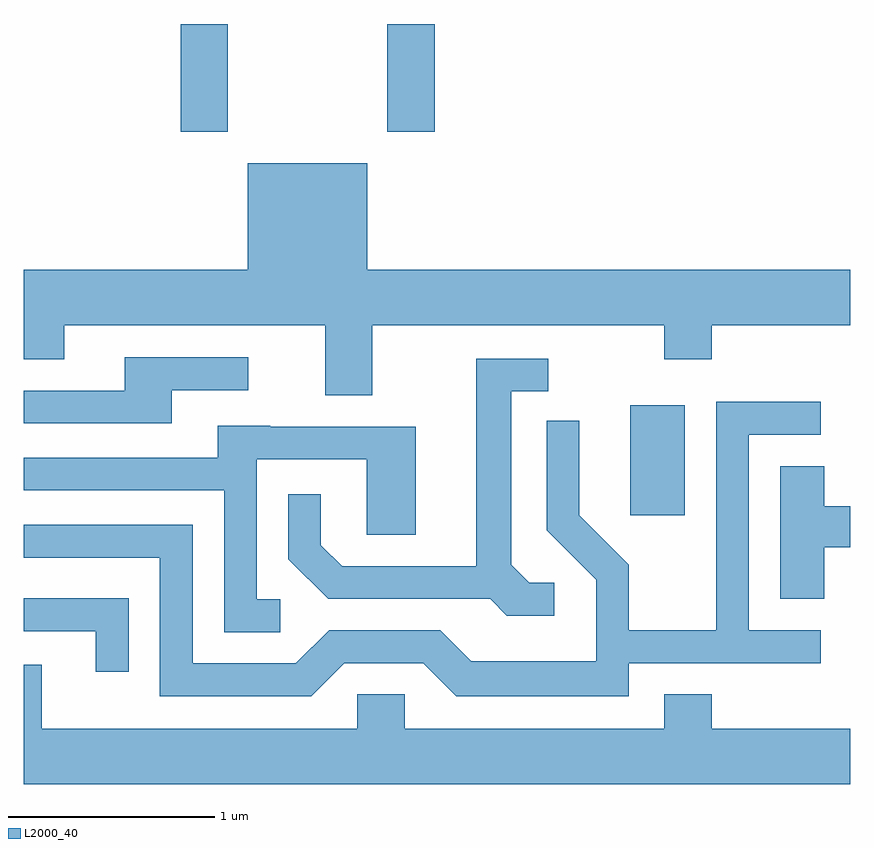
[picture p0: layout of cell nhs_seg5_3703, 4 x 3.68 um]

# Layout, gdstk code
import gdstk
lib = gdstk.Library(unit=1e-6, precision=1e-09)
def R(c, l, rs):  # rectangles x0, y0, x1, y1
    for r in rs: c.add(gdstk.rectangle(r[:2], r[2:], *l))
def P(c, l, *ps):  # polygons
    for p in ps: c.add(gdstk.Polygon(p, *l))
L2000_40 = (2000, 40)

nhs_seg5_3703 = lib.new_cell('nhs_seg5_3703')
R(nhs_seg5_3703, L2000_40, [(298.546,1413.696,298.809,1414.229), (296.371,1415.551,296.599,1416.072), (297.371,1415.551,297.599,1416.072)])
P(nhs_seg5_3703, L2000_40, [(297.299,1414.616),(298.711,1414.616),(298.711,1414.451),(298.939,1414.451),(298.939,1414.616),(299.611,1414.616),(299.611,1414.884),(297.274,1414.884),(297.274,1415.399),(296.696,1415.399),(296.696,1414.884),(295.611,1414.884),(295.611,1414.451),(295.809,1414.451),(295.809,1414.616),(297.071,1414.616),(297.071,1414.276),(297.299,1414.276)],
  [(296.329,1414.301),(296.698,1414.301),(296.698,1414.459),(296.101,1414.459),(296.101,1414.299),(295.611,1414.299),(295.611,1414.141),(296.329,1414.141)],
  [(298.178,1413.369),(298.057,1413.369),(297.969,1413.457),(297.969,1414.296),(298.148,1414.296),(298.148,1414.454),(297.801,1414.454),(297.801,1413.449),(297.152,1413.449),(297.049,1413.552),(297.049,1413.798),(296.891,1413.798),(296.891,1413.484),(297.084,1413.291),(297.869,1413.291),(297.949,1413.211),(298.178,1413.211)],
  [(297.162,1412.981),(297.544,1412.981),(297.704,1412.821),(298.539,1412.821),(298.539,1412.981),(299.468,1412.981),(299.468,1413.139),(299.119,1413.139),(299.119,1414.086),(299.468,1414.086),(299.468,1414.244),(298.961,1414.244),(298.961,1413.139),(298.539,1413.139),(298.539,1413.457),(298.299,1413.697),(298.299,1414.153),(298.141,1414.153),(298.141,1413.624),(298.381,1413.384),(298.381,1412.989),(297.777,1412.989),(297.627,1413.139),(297.089,1413.139),(296.929,1412.979),(296.429,1412.979),(296.429,1413.649),(295.611,1413.649),(295.611,1413.491),(296.271,1413.491),(296.271,1412.821),(297.002,1412.821)],
  [(296.853,1413.289),(296.739,1413.289),(296.739,1413.966),(297.271,1413.966),(297.271,1413.601),(297.509,1413.601),(297.509,1414.124),(296.805,1414.124),(296.805,1414.129),(296.551,1414.129),(296.551,1413.974),(295.611,1413.974),(295.611,1413.816),(296.581,1413.816),(296.581,1413.131),(296.853,1413.131)],
  [(299.484,1413.541),(299.611,1413.541),(299.611,1413.739),(299.484,1413.739),(299.484,1413.934),(299.271,1413.934),(299.271,1413.291),(299.484,1413.291)],
  [(296.119,1413.294),(295.611,1413.294),(295.611,1413.136),(295.961,1413.136),(295.961,1412.938),(296.119,1412.938)],
  [(299.611,1412.664),(298.939,1412.664),(298.939,1412.829),(298.711,1412.829),(298.711,1412.664),(297.454,1412.664),(297.454,1412.829),(297.226,1412.829),(297.226,1412.664),(295.699,1412.664),(295.699,1412.974),(295.611,1412.974),(295.611,1412.396),(299.611,1412.396)])

lib.write_gds('nhs_seg5_3703.gds')
